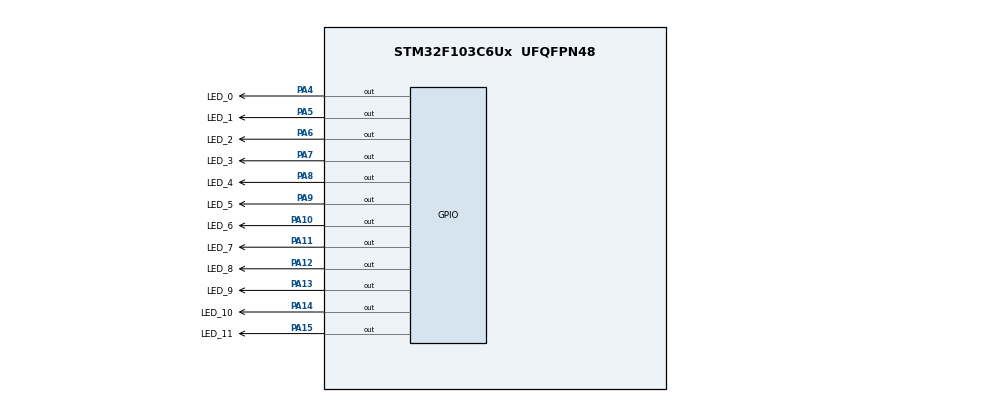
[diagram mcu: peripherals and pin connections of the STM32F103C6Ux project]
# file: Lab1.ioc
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Mcu.Family=STM32F1
Mcu.Name=STM32F103C6Ux
Mcu.Package=UFQFPN48
NVIC.PriorityGroup=NVIC_PRIORITYGROUP_4
PA10.GPIO_Label=LED_6
PA10.Signal=GPIO_Output
PA11.GPIO_Label=LED_7
PA11.Signal=GPIO_Output
PA12.GPIO_Label=LED_8
PA12.Signal=GPIO_Output
PA13.GPIO_Label=LED_9
PA13.Signal=GPIO_Output
PA14.GPIO_Label=LED_10
PA14.Signal=GPIO_Output
PA15.GPIO_Label=LED_11
PA15.Signal=GPIO_Output
PA4.GPIO_Label=LED_0
PA4.Signal=GPIO_Output
PA5.GPIO_Label=LED_1
PA5.Signal=GPIO_Output
PA6.GPIO_Label=LED_2
PA6.Signal=GPIO_Output
PA7.GPIO_Label=LED_3
PA7.Signal=GPIO_Output
PA8.GPIO_Label=LED_4
PA8.Signal=GPIO_Output
PA9.GPIO_Label=LED_5
PA9.Signal=GPIO_Output
ProjectManager.HeapSize=0x200
ProjectManager.StackSize=0x400
ProjectManager.TargetToolchain=STM32CubeIDE
RCC.APB1Freq_Value=8000000
RCC.APB2Freq_Value=8000000
VP_SYS_VS_ND.Mode=No_Debug
board=custom

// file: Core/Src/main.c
/* USER CODE BEGIN Header */
/**
 ******************************************************************************
 * @file           : main.c
 * @brief          : Main program body
 ******************************************************************************
 * @attention
 *
 * <h2><center>&copy; Copyright (c) 2023 STMicroelectronics.
 * All rights reserved.</center></h2>
 *
 * This software component is licensed by ST under BSD 3-Clause license,
 * the "License"; You may not use this file except in compliance with the
 * License. You may obtain a copy of the License at:
 *                        opensource.org/licenses/BSD-3-Clause
 *
 ******************************************************************************
 */
/* USER CODE END Header */
#include "main.h"

void SystemClock_Config(void);
static void MX_GPIO_Init(void);
void setAllClock();
void clearAllClock();
void setNumberOnClock(int num);
void clearNumberOnClock(int num);
void displayClock(int hour, int minute, int second);
/* USER CODE BEGIN PFP */
void setAllClock();
void clearAllClock();
void setNumberOnClock(int num);
void clearNumberOnClock(int num);

/* USER CODE END PFP */

/* USER CODE BEGIN 0 */
int hour = 0, minute = 0, second = 0;
void displayClock(int hour, int minute, int second){
	int m = minute/5;
	int s = second/5;
	if(second%5 == 0){
		clearAllClock();
		setNumberOnClock(hour);
		setNumberOnClock(m);
		setNumberOnClock(s);
	}
}
void setAllClock(){
	HAL_GPIO_WritePin(GPIOA, LED_0_Pin|LED_1_Pin|LED_2_Pin|LED_3_Pin|LED_4_Pin|LED_5_Pin|LED_6_Pin|LED_7_Pin|LED_8_Pin|LED_9_Pin|LED_10_Pin|LED_11_Pin,GPIO_PIN_RESET);
}
void clearAllClock(){
	HAL_GPIO_WritePin(GPIOA, LED_0_Pin|LED_1_Pin|LED_2_Pin|LED_3_Pin|LED_4_Pin|LED_5_Pin|LED_6_Pin|LED_7_Pin|LED_8_Pin|LED_9_Pin|LED_10_Pin|LED_11_Pin,GPIO_PIN_SET);
}

void setNumberOnClock(int num){
    switch(num){
    case 0:
        HAL_GPIO_WritePin(GPIOA, LED_0_Pin,GPIO_PIN_RESET);
        break;
    case 1:
        HAL_GPIO_WritePin(GPIOA, LED_1_Pin,GPIO_PIN_RESET);
        break;
    case 2:
        HAL_GPIO_WritePin(GPIOA, LED_2_Pin,GPIO_PIN_RESET);
        break;
    case 3:
        HAL_GPIO_WritePin(GPIOA, LED_3_Pin,GPIO_PIN_RESET);
        break;
    case 4:
        HAL_GPIO_WritePin(GPIOA, LED_4_Pin,GPIO_PIN_RESET);
        break;
    case 5:
        HAL_GPIO_WritePin(GPIOA, LED_5_Pin,GPIO_PIN_RESET);
        break;
    case 6:
        HAL_GPIO_WritePin(GPIOA, LED_6_Pin,GPIO_PIN_RESET);
        break;
    case 7:
        HAL_GPIO_WritePin(GPIOA, LED_7_Pin,GPIO_PIN_RESET);
        break;
    case 8:
        HAL_GPIO_WritePin(GPIOA, LED_8_Pin,GPIO_PIN_RESET);
        break;
    case 9:
        HAL_GPIO_WritePin(GPIOA, LED_9_Pin,GPIO_PIN_RESET);
        break;
    case 10:
        HAL_GPIO_WritePin(GPIOA, LED_10_Pin,GPIO_PIN_RESET);
        break;
    case 11:
        HAL_GPIO_WritePin(GPIOA, LED_11_Pin,GPIO_PIN_RESET);
        break;
    }
}
void clearNumberOnClock(int num){
    switch(num){
    case 0:
        HAL_GPIO_WritePin(GPIOA, LED_0_Pin,GPIO_PIN_SET);
        break;
    case 1:
        HAL_GPIO_WritePin(GPIOA, LED_1_Pin,GPIO_PIN_SET);
        break;
    case 2:
        HAL_GPIO_WritePin(GPIOA, LED_2_Pin,GPIO_PIN_SET);
        break;
    case 3:
        HAL_GPIO_WritePin(GPIOA, LED_3_Pin,GPIO_PIN_SET);
        break;
    case 4:
        HAL_GPIO_WritePin(GPIOA, LED_4_Pin,GPIO_PIN_SET);
        break;
    case 5:
        HAL_GPIO_WritePin(GPIOA, LED_5_Pin,GPIO_PIN_SET);
        break;
    case 6:
        HAL_GPIO_WritePin(GPIOA, LED_6_Pin,GPIO_PIN_SET);
        break;
    case 7:
        HAL_GPIO_WritePin(GPIOA, LED_7_Pin,GPIO_PIN_SET);
        break;
    case 8:
        HAL_GPIO_WritePin(GPIOA, LED_8_Pin,GPIO_PIN_SET);
        break;
    case 9:
        HAL_GPIO_WritePin(GPIOA, LED_9_Pin,GPIO_PIN_SET);
        break;
    case 10:
        HAL_GPIO_WritePin(GPIOA, LED_10_Pin,GPIO_PIN_SET);
        break;
    case 11:
        HAL_GPIO_WritePin(GPIOA, LED_11_Pin,GPIO_PIN_SET);
        break;
    }
}
/* USER CODE END 0 */

int main(void)
{

  /* MCU Configuration--------------------------------------------------------*/

  /* Reset of all peripherals, Initializes the Flash interface and the Systick. */
  HAL_Init();

  /* Configure the system clock */
  SystemClock_Config();

  /* Initialize all configured peripherals */
  MX_GPIO_Init();

  /* Infinite loop */
  /* USER CODE BEGIN WHILE */
  clearAllClock();
  while (1) {
	  displayClock(hour, minute, second);
	  second++;
	  if(second >= 60){
		  second = 0;
		  minute++;
	  }
	  if(minute >= 60){
		  minute = 0;
		  hour++;
	  	  }
	  if(hour >= 12){
		  hour = 0;
	  }
	  HAL_Delay(1000);
    /* USER CODE END WHILE */

	}
}

void SystemClock_Config(void)
{
  RCC_OscInitTypeDef RCC_OscInitStruct = {0};
  RCC_ClkInitTypeDef RCC_ClkInitStruct = {0};

  /** Initializes the RCC Oscillators according to the specified parameters
  * in the RCC_OscInitTypeDef structure.
  */
  RCC_OscInitStruct.OscillatorType = RCC_OSCILLATORTYPE_HSI;
  RCC_OscInitStruct.HSIState = RCC_HSI_ON;
  RCC_OscInitStruct.HSICalibrationValue = RCC_HSICALIBRATION_DEFAULT;
  RCC_OscInitStruct.PLL.PLLState = RCC_PLL_NONE;
  if (HAL_RCC_OscConfig(&RCC_OscInitStruct) != HAL_OK)
  {
    Error_Handler();
  }
  /** Initializes the CPU, AHB and APB buses clocks
  */
  RCC_ClkInitStruct.ClockType = RCC_CLOCKTYPE_HCLK|RCC_CLOCKTYPE_SYSCLK
                              |RCC_CLOCKTYPE_PCLK1|RCC_CLOCKTYPE_PCLK2;
  RCC_ClkInitStruct.SYSCLKSource = RCC_SYSCLKSOURCE_HSI;
  RCC_ClkInitStruct.AHBCLKDivider = RCC_SYSCLK_DIV1;
  RCC_ClkInitStruct.APB1CLKDivider = RCC_HCLK_DIV1;
  RCC_ClkInitStruct.APB2CLKDivider = RCC_HCLK_DIV1;

  if (HAL_RCC_ClockConfig(&RCC_ClkInitStruct, FLASH_LATENCY_0) != HAL_OK)
  {
    Error_Handler();
  }
}

static void MX_GPIO_Init(void)
{
  GPIO_InitTypeDef GPIO_InitStruct = {0};

  /* GPIO Ports Clock Enable */
  __HAL_RCC_GPIOA_CLK_ENABLE();

  /*Configure GPIO pin Output Level */
  HAL_GPIO_WritePin(GPIOA, LED_0_Pin|LED_1_Pin|LED_2_Pin|LED_3_Pin
                          |LED_4_Pin|LED_5_Pin|LED_6_Pin|LED_7_Pin
                          |LED_8_Pin|LED_9_Pin|LED_10_Pin|LED_11_Pin, GPIO_PIN_RESET);

  /*Configure GPIO pins : LED_0_Pin LED_1_Pin LED_2_Pin LED_3_Pin
                           LED_4_Pin LED_5_Pin LED_6_Pin LED_7_Pin
                           LED_8_Pin LED_9_Pin LED_10_Pin LED_11_Pin */
  GPIO_InitStruct.Pin = LED_0_Pin|LED_1_Pin|LED_2_Pin|LED_3_Pin
                          |LED_4_Pin|LED_5_Pin|LED_6_Pin|LED_7_Pin
                          |LED_8_Pin|LED_9_Pin|LED_10_Pin|LED_11_Pin;
  GPIO_InitStruct.Mode = GPIO_MODE_OUTPUT_PP;
  GPIO_InitStruct.Pull = GPIO_NOPULL;
  GPIO_InitStruct.Speed = GPIO_SPEED_FREQ_LOW;
  HAL_GPIO_Init(GPIOA, &GPIO_InitStruct);

}

void Error_Handler(void)
{
	__disable_irq();
	while (1) {
	}
}

/************************ (C) COPYRIGHT STMicroelectronics *****END OF FILE****/
